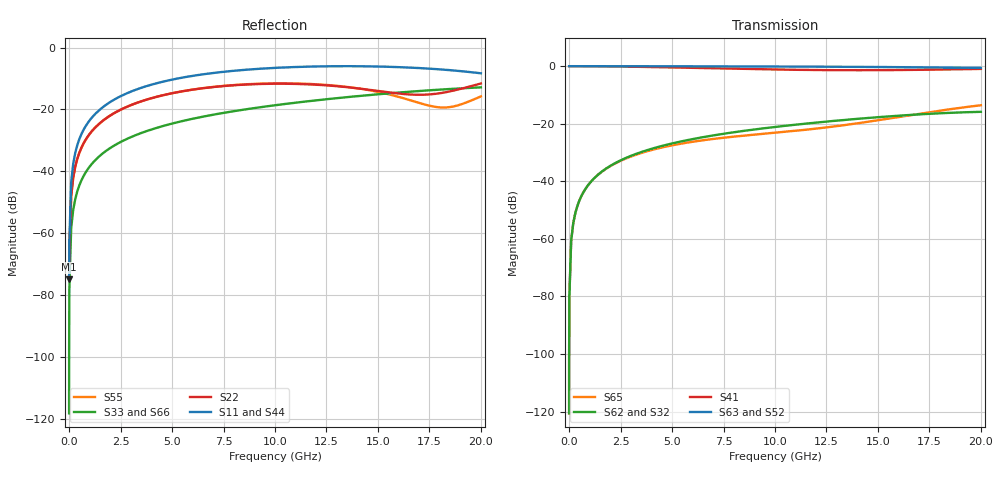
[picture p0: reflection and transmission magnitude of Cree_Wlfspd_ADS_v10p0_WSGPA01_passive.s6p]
! Created Thu Dec 10 20:46:29 2020
# hz S ma R 50
! 6 Port Network Data from SP1.SP block
! freq  magS11  angS11  magS12  angS12  magS13  angS13  magS14  angS14
!  magS15  angS15  magS16  angS16
!  magS21  angS21  magS22  angS22
!  magS23  angS23  magS24  angS24  magS25  angS25  magS26  angS26
!  magS31  angS31  magS32  angS32  magS33  angS33  magS34  angS34
!  magS35  angS35  magS36  angS36
!  magS41  angS41  magS42  angS42
!  magS43  angS43  magS44  angS44  magS45  angS45  magS46  angS46
!  magS51  angS51  magS52  angS52  magS53  angS53  magS54  angS54
!  magS55  angS55  magS56  angS56
!  magS61  angS61  magS62  angS62
!  magS63  angS63  magS64  angS64  magS65  angS65  magS66  angS66
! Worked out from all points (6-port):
!   203 points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, 100 kHz to 20 GHz, reference 50 ohm
!   strongest paths, dB at 100 kHz, 4.8 GHz, 9.9 GHz, 15 GHz, 20 GHz:
!     S63: 0.0, 0.0, -0.1, -0.3, -0.6
!     S52: 0.0, -0.2, -0.4, -0.5, -1.0
!     S41: 0.0, -0.4, -1.2, -1.4, -1.0
!     S62: -120.6, -27.2, -21.2, -17.7, -15.9
!     S32: -120.6, -27.2, -21.2, -17.7, -15.9
!     S65: -120.6, -27.8, -23.2, -18.8, -13.6
!   lowest |S11| = -74.9 dB at 100 kHz (marker M1), VSWR 1.00, Z = 50 - j0.000664 ohm
!   |S11| at or under -10 dB: start of sweep to 5.252 GHz
